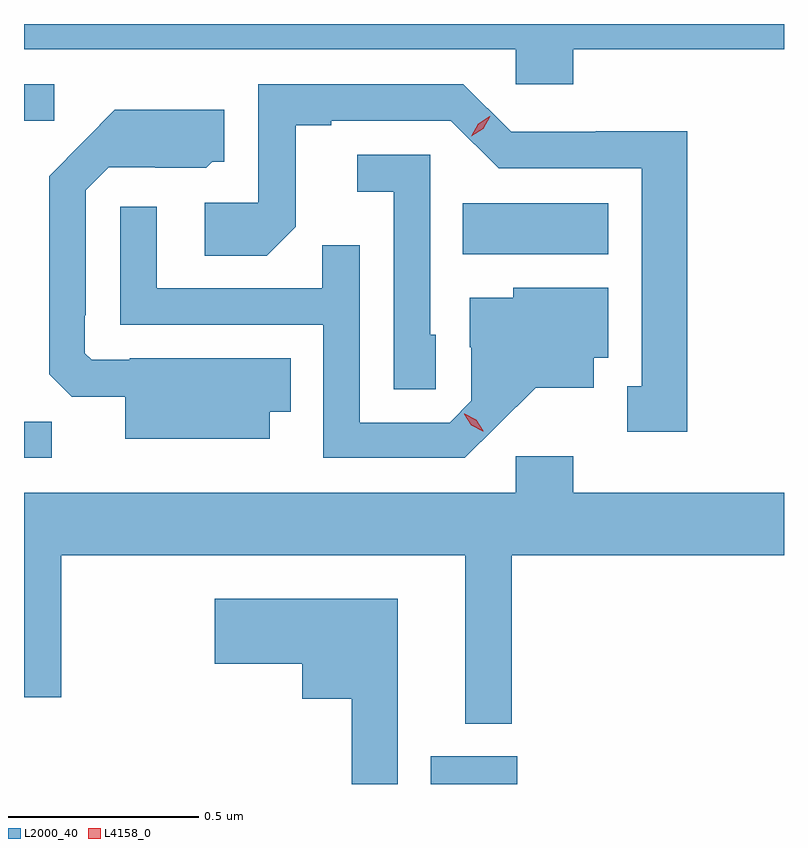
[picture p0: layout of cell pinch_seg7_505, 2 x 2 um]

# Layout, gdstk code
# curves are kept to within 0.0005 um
import gdstk
lib = gdstk.Library(unit=1e-6, precision=1e-09)
def R(c, l, rs):  # rectangles x0, y0, x1, y1
    for r in rs: c.add(gdstk.rectangle(r[:2], r[2:], *l))
def P(c, l, *ps):  # polygons
    for p in ps: c.add(gdstk.Polygon(p, *l))
L2000_40 = (2000, 40)
L4158_0 = (4158, 0)

pinch_seg7_505 = lib.new_cell('pinch_seg7_505')
R(pinch_seg7_505, L2000_40, [(226.085,1065.282,226.312,1065.355), (225.014,1066.14,225.087,1066.235), (226.168,1066.676,226.552,1066.81), (225.014,1067.028,225.094,1067.124)])
P(pinch_seg7_505, L2000_40, [(226.46,1067.216),(227.014,1067.216),(227.014,1067.282),(225.014,1067.282),(225.014,1067.216),(226.308,1067.216),(226.308,1067.123),(226.46,1067.123)],
  [(226.759,1067),(226.518,1067),(226.518,1066.998),(226.296,1066.998),(226.17,1067.124),(225.63,1067.124),(225.63,1066.812),(225.489,1066.812),(225.489,1066.672),(225.653,1066.672),(225.729,1066.748),(225.729,1067.016),(225.823,1067.016),(225.823,1067.028),(226.137,1067.028),(226.263,1066.902),(226.64,1066.902),(226.64,1066.329),(226.601,1066.329),(226.601,1066.209),(226.759,1066.209)],
  [(225.661,1066.262),(225.716,1066.262),(225.716,1066.402),(225.292,1066.402),(225.292,1066.398),(225.192,1066.398),(225.174,1066.416),(225.174,1066.516),(225.177,1066.516),(225.177,1066.845),(225.237,1066.905),(225.36,1066.905),(225.36,1066.904),(225.494,1066.904),(225.51,1066.92),(225.541,1066.92),(225.541,1067.056),(225.253,1067.056),(225.081,1066.882),(225.081,1066.36),(225.14,1066.301),(225.281,1066.301),(225.281,1066.19),(225.661,1066.19)],
  [(226.098,1066.464),(226.083,1066.464),(226.083,1066.938),(225.891,1066.938),(225.891,1066.841),(225.987,1066.841),(225.987,1066.321),(226.098,1066.321)],
  [(226.258,1066.223),(226.361,1066.325),(226.513,1066.325),(226.513,1066.404),(226.552,1066.404),(226.552,1066.588),(226.302,1066.588),(226.302,1066.561),(226.187,1066.561),(226.187,1066.432),(226.191,1066.432),(226.191,1066.29),(226.134,1066.233),(225.897,1066.233),(225.897,1066.7),(225.799,1066.7),(225.799,1066.587),(225.363,1066.587),(225.363,1066.801),(225.267,1066.801),(225.267,1066.491),(225.801,1066.491),(225.801,1066.14),(226.174,1066.14)],
  [(226.297,1065.884),(227.014,1065.884),(227.014,1066.048),(226.46,1066.048),(226.46,1066.144),(226.308,1066.144),(226.308,1066.048),(225.014,1066.048),(225.014,1065.51),(225.112,1065.51),(225.112,1065.884),(226.175,1065.884),(226.175,1065.44),(226.297,1065.44)],
  [(225.997,1065.769),(225.516,1065.769),(225.516,1065.599),(225.746,1065.599),(225.746,1065.506),(225.876,1065.506),(225.876,1065.282),(225.997,1065.282)])
P(pinch_seg7_505, L4158_0, [(226.191,1066.987),(226.191,1066.987),(226.209,1067.02),(226.24,1067.039),(226.241,1067.039),(226.241,1067.039),(226.223,1067.006),(226.191,1066.987)],
  [(226.221,1066.21),(226.191,1066.226),(226.173,1066.255),(226.173,1066.256),(226.174,1066.256),(226.204,1066.24),(226.222,1066.211),(226.222,1066.21)])

lib.write_gds('pinch_seg7_505.gds')
